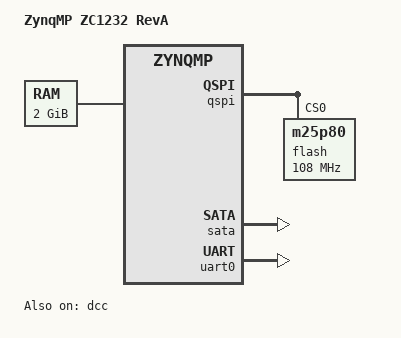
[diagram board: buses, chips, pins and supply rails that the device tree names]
// SPDX-License-Identifier: GPL-2.0+
/*
 * dts file for Xilinx ZynqMP ZC1232
 *
 * (C) Copyright 2017 - 2021, Xilinx, Inc.
 *
 * Michal Simek <michal.simek@xilinx.com>
 */

/dts-v1/;

#include "zynqmp.dtsi"
#include "zynqmp-clk-ccf.dtsi"

/ {
	model = "ZynqMP ZC1232 RevA";
	compatible = "xlnx,zynqmp-zc1232-revA", "xlnx,zynqmp-zc1232", "xlnx,zynqmp";

	aliases {
		serial0 = &uart0;
		serial1 = &dcc;
		spi0 = &qspi;
	};

	chosen {
		bootargs = "earlycon";
		stdout-path = "serial0:115200n8";
	};

	memory@0 {
		device_type = "memory";
		reg = <0x0 0x0 0x0 0x80000000>;
	};
};

&dcc {
	status = "okay";
};

&qspi {
	status = "okay";
	flash@0 {
		compatible = "m25p80", "jedec,spi-nor"; /* 32MB */
		#address-cells = <1>;
		#size-cells = <1>;
		reg = <0x0>;
		spi-tx-bus-width = <1>;
		spi-rx-bus-width = <4>;
		spi-max-frequency = <108000000>; /* Based on DC1 spec */
	};
};

&sata {
	status = "okay";
	/* SATA OOB timing settings */
	ceva,p0-cominit-params = /bits/ 8 <0x18 0x40 0x18 0x28>;
	ceva,p0-comwake-params = /bits/ 8 <0x06 0x14 0x08 0x0E>;
	ceva,p0-burst-params = /bits/ 8 <0x13 0x08 0x4A 0x06>;
	ceva,p0-retry-params = /bits/ 16 <0x96A4 0x3FFC>;
	ceva,p1-cominit-params = /bits/ 8 <0x18 0x40 0x18 0x28>;
	ceva,p1-comwake-params = /bits/ 8 <0x06 0x14 0x08 0x0E>;
	ceva,p1-burst-params = /bits/ 8 <0x13 0x08 0x4A 0x06>;
	ceva,p1-retry-params = /bits/ 16 <0x96A4 0x3FFC>;
};

&uart0 {
	status = "okay";
};
